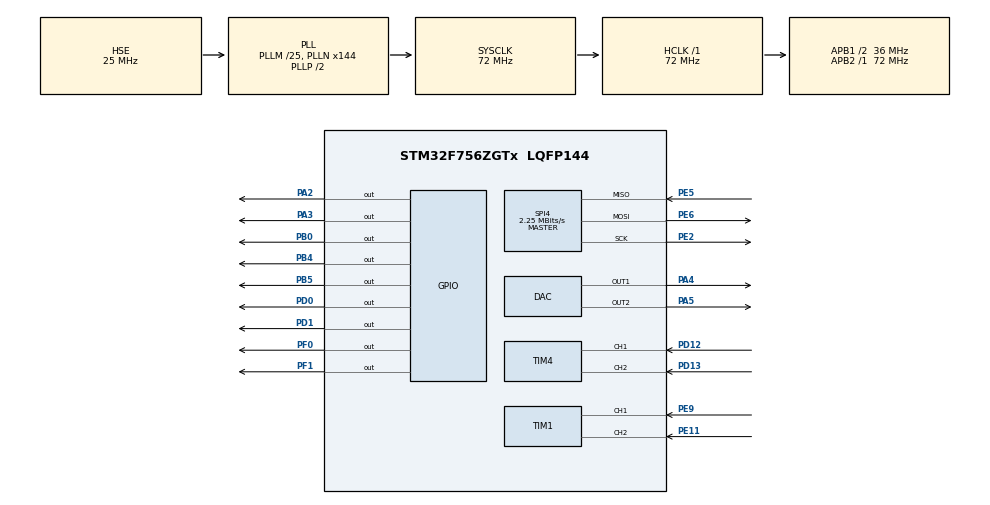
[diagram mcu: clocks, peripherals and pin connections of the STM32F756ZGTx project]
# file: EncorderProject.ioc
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CORTEX_M7.default_mode_Activation=1
FATFS._MAX_SS=4096
Mcu.Family=STM32F7
Mcu.Name=STM32F756ZGTx
Mcu.Package=LQFP144
NVIC.PriorityGroup=NVIC_PRIORITYGROUP_4
NVIC.TIM8_UP_TIM13_IRQn=true\:0\:0\:false\:false\:true\:true\:true\:true
PA13.Mode=Serial_Wire
PA13.Signal=SYS_JTMS-SWDIO
PA14.Mode=Serial_Wire
PA14.Signal=SYS_JTCK-SWCLK
PA2.Signal=GPIO_Output
PA3.Signal=GPIO_Output
PA4.Signal=COMP_DAC1_group
PA5.Signal=COMP_DAC2_group
PB0.Signal=GPIO_Output
PB4.Signal=GPIO_Output
PB5.Signal=GPIO_Output
PD0.Signal=GPIO_Output
PD1.Signal=GPIO_Output
PD12.Signal=S_TIM4_CH1
PD13.Signal=S_TIM4_CH2
PE11.Signal=S_TIM1_CH2
PE2.Mode=Full_Duplex_Master
PE2.Signal=SPI4_SCK
PE5.Mode=Full_Duplex_Master
PE5.Signal=SPI4_MISO
PE6.Mode=Full_Duplex_Master
PE6.Signal=SPI4_MOSI
PE9.Signal=S_TIM1_CH1
PF0.Signal=GPIO_Output
PF1.Signal=GPIO_Output
PH0/OSC_IN.Mode=HSE-External-Oscillator
PH0/OSC_IN.Signal=RCC_OSC_IN
PH1/OSC_OUT.Mode=HSE-External-Oscillator
PH1/OSC_OUT.Signal=RCC_OSC_OUT
ProjectManager.HeapSize=0x200
ProjectManager.StackSize=0x400
ProjectManager.TargetToolchain=STM32CubeIDE
RCC.AHBFreq_Value=72000000
RCC.APB1CLKDivider=RCC_HCLK_DIV2
RCC.APB1Freq_Value=36000000
RCC.APB1TimFreq_Value=72000000
RCC.APB2Freq_Value=72000000
RCC.APB2TimFreq_Value=72000000
RCC.CortexFreq_Value=72000000
RCC.HCLKFreq_Value=72000000
RCC.HSE_VALUE=25000000
RCC.HSI_VALUE=16000000
RCC.LSE_VALUE=32768
RCC.PLLM=25
RCC.PLLN=144
RCC.PLLSourceVirtual=RCC_PLLSOURCE_HSE
RCC.SYSCLKFreq_VALUE=72000000
RCC.SYSCLKSource=RCC_SYSCLKSOURCE_PLLCLK
RCC.USBFreq_Value=72000000
RCC.VCOOutputFreq_Value=144000000
SH.COMP_DAC1_group.0=DAC_OUT1,DAC_OUT1
SH.COMP_DAC2_group.0=DAC_OUT2,DAC_OUT2
SH.S_TIM1_CH1.0=TIM1_CH1,Encoder_Interface
SH.S_TIM1_CH2.0=TIM1_CH2,Encoder_Interface
SH.S_TIM4_CH1.0=TIM4_CH1,Encoder_Interface
SH.S_TIM4_CH2.0=TIM4_CH2,Encoder_Interface
SPI4.BaudRatePrescaler=SPI_BAUDRATEPRESCALER_32
SPI4.CLKPhase=SPI_PHASE_1EDGE
SPI4.CalculateBaudRate=2.25 MBits/s
SPI4.DataSize=SPI_DATASIZE_8BIT
SPI4.Direction=SPI_DIRECTION_2LINES
SPI4.Mode=SPI_MODE_MASTER
SPI4.VirtualType=VM_MASTER
TIM1.EncoderMode=TIM_ENCODERMODE_TI12
TIM1.IC1Filter=4
TIM1.IC1Polarity=TIM_ICPOLARITY_FALLING
TIM1.IC2Filter=4
TIM1.IC2Polarity=TIM_ICPOLARITY_FALLING
TIM13.Period=999
TIM13.Prescaler=14400-1
TIM2.Period=0xFFFFFFFF
TIM2.Prescaler=72*5-1
TIM4.EncoderMode=TIM_ENCODERMODE_TI12
TIM4.IC1Filter=8
TIM4.IC1Polarity=TIM_ICPOLARITY_FALLING
TIM4.IC2Filter=8
TIM4.IC2Polarity=TIM_ICPOLARITY_FALLING
VP_FATFS_VS_Generic.Mode=User_defined
VP_TIM13_VS_ClockSourceINT.Mode=Enable_Timer
VP_TIM2_VS_ClockSourceINT.Mode=Internal
board=custom

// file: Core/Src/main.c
/* USER CODE BEGIN Header */
/**
  ******************************************************************************
  * @file           : main.c
  * @brief          : Main program body
  ******************************************************************************
  * @attention
  *
  * Copyright (c) 2025 STMicroelectronics.
  * All rights reserved.
  *
  * This software is licensed under terms that can be found in the LICENSE file
  * in the root directory of this software component.
  * If no LICENSE file comes with this software, it is provided AS-IS.
  *
  ******************************************************************************
  */
/* USER CODE END Header */
#include "main.h"
#include "fatfs.h"

/* USER CODE BEGIN Includes */
#include "fatfs_sd.h"
#include "string.h"
#include "stdio.h"
#include <math.h>
#include <stdint.h>
uint16_t dac_value=500;
/* USER CODE END Includes */

DAC_HandleTypeDef hdac;

SPI_HandleTypeDef hspi4;

TIM_HandleTypeDef htim1;
TIM_HandleTypeDef htim2;
TIM_HandleTypeDef htim4;
TIM_HandleTypeDef htim13;

void SystemClock_Config(void);
static void MPU_Config(void);
static void MX_GPIO_Init(void);
static void MX_TIM1_Init(void);
static void MX_TIM4_Init(void);
static void MX_TIM13_Init(void);
static void MX_SPI4_Init(void);
static void MX_TIM2_Init(void);
static void MX_DAC_Init(void);

/* USER CODE BEGIN 0 */
// Variables to store encoder ticks for Encoder 1 and Encoder 2
uint32_t encoder_ticks = 0;        // Current tick count from Encoder 1
uint32_t encoder_ticks_prev = 0;   // Previous tick count from Encoder 1
uint32_t encoder_ticks2 = 0;       // Current tick count from Encoder 2
uint32_t encoder_ticks2_prev = 0;  // Previous tick count from Encoder 2

// Counters to track the number of timer interrupts or events
uint32_t MainloopCount = 0;            // Main counter to keep track of loop or events
uint32_t SDCardCount=0;			   // Counter for SD card
uint32_t record_number = 1;  // Counter for record numbers
uint32_t communicationError=0;
// Velocity and acceleration variables for Encoder 1

// Timing variable to set the interval for calculation
uint32_t time_interval = 5;        // Time interval in milliseconds (equivalent to 0.005 seconds at 20 kHz Timer)

// File system and file handling variables for SD card operations
FATFS fs;                          // FatFs structure to manage the file system
FIL fil;                           // File object structure for handling files
FRESULT fresult;                  // Result variable to capture FatFs API function responses

// General-purpose buffer for storing data to read/write to the SD card
char buffer[2048];                 // Buffer to hold data for file operations

// Variables to track bytes read and written
UINT br;                           // Bytes read from the file
UINT bw;                           // Bytes written to the file

/////////// Test Variables  ////////
FRESULT fresult2;
volatile int EncoderUpdated = 0;
int SDCardRecordMode = 0;
/////////// Algorithm Code Varibles  ////////
#define CPR 28846 //Counter Per Revolution
#define MAX_COUNT 65535
uint32_t time_start=0;
uint32_t time_end=0;
uint32_t secondFromStart;
// Position (angles in rad)
int16_t prev_ticks1 = 0, prev_ticks2 = 0;  // Previous counts for each encoder
float theta1 = 0.0, theta2 = 0.0;
float theta1_prev = 0.0, theta2_prev = 0.0;

// Velocity calculations
float velocity1 = 0.0, velocity2 = 0.0;
float velocity1_prev = 0.0, velocity2_prev = 0.0;

// Acceleration calculations
float acceleration1 = 0.0, acceleration2 = 0.0;
// Parameters
#define G 0.1f  // Smoothing factor (adjust 0 < G < 1)
// Define constants and variables for both motors
// Motor 1 Parameters
float Icmd1 = 1.2;        // Commanded current (A)
float Ktn1 = 0.05;        // Torque constant (Nm/A)
float Jn1 = 0.01;         // Motor inertia (kg·m^2)
float Gdis1 = 100.0;      // Disturbance observer gain
float Kt1 = 0.05;        // Additional torque constant scaling
float Grtob1 = 50.0;      // Reaction torque observer gain
float Fint = 0.1;         // Internal force (Nm)
float Ffric = 0.05;       // Friction force (Nm)

// Motor 2 Parameters
float Icmd2 = 1.1;        // Commanded current (A)
float Ktn2 = 0.048;       // Torque constant (Nm/A)
float Jn2 = 0.012;        // Motor inertia (kg·m^2)
float Gdis2 = 95.0;       // Disturbance observer gain
float Kt2 = 0.048;        // Additional torque constant scaling
float Grtob2 = 45.0;      // Reaction torque observer gain
float Fint2 = 0.08;       // Internal force (Nm)
float Ffric2 = 0.04;      // Friction force (Nm)

// Disturbance Torque Variables
float Tdis1, Tdis2;  // Disturbance torque estimation (Nm)

// Disturbance-Induced Currents
float Idis1, Idis2;  // Disturbance-induced current (A)

// External Torque Estimations
float Text1, Text2;  // External torque estimation (Nm)
// External Torque Estimations
float Text1, Text2;
HAL_StatusTypeDef status;
uint16_t OutputVref=5000;
void HAL_TIM_PeriodElapsedCallback(TIM_HandleTypeDef *htim) {
    if (htim->Instance == TIM13) {
    	if (SDCardRecordMode==1){
/*        SDCardCount++;
        if (EncoderUpdated == 1 && communicationError==0) {
            FRESULT fr;
            UINT bytes_written;

            // Open the file for appending
            fr = f_open(&fil, "Data.txt", FA_OPEN_APPEND | FA_WRITE);
            if (fr != FR_OK) {
                // Optional: Handle error (blink LED, set flag, etc.)
            	communicationError=1;
                return;
            }

            // Format the record number and encoder tick data into a string
            sprintf(buffer, "R%lu: E1: %lu, E2: %lu\n", SDCardCount, encoder_ticks, encoder_ticks2);
            //"R%lu: E1: %lu, E2: %lu\n"
            // Write to the file
            fr = f_write(&fil, buffer, strlen(buffer), &bytes_written);
            if (fr != FR_OK || bytes_written == 0) {
                f_close(&fil);  // Close anyway if open
                communicationError=1;
                return;
            }

            // Close the file
            fr = f_close(&fil);
            if (fr != FR_OK) {
            	communicationError=1;
                return;
            }

            EncoderUpdated = 0;
            record_number++;*/
        }

    		else {
    			   // Send RGB values to ESP32
    				uint8_t txData[3] = {100, 0, 0};
    			    HAL_SPI_Transmit(&hspi4, txData, 3, HAL_MAX_DELAY);
    			    HAL_Delay(500);  // Delay between transmissions for clarity
    		}
    }
}
float applyLowPassFilterVelocity(float X, float Y_old) {
    // Apply the first-order low-pass filter formula
    float Y = Y_old + G * (X - Y_old);

    // Return the filtered output
    return Y;
}
void ConfigureMotor01(int Enable, int Clockwise, uint16_t dac_value) {
	HAL_GPIO_WritePin(GPIOB,GPIO_PIN_4, Clockwise);
	HAL_GPIO_WritePin(GPIOB,GPIO_PIN_5, Enable);
	HAL_DAC_SetValue(&hdac, DAC_CHANNEL_1, DAC_ALIGN_12B_R, dac_value);

}
void ConfigureMotor02(int Enable, int Clockwise, uint16_t dac_value) {
	HAL_GPIO_WritePin(GPIOA,GPIO_PIN_2, Clockwise);
	HAL_GPIO_WritePin(GPIOA,GPIO_PIN_3, Enable);
	HAL_DAC_SetValue(&hdac, DAC_CHANNEL_2, DAC_ALIGN_12B_R, dac_value);
}
int result=0;
/* USER CODE END 0 */

int main(void)
{

  /* MPU Configuration--------------------------------------------------------*/
  MPU_Config();

  /* MCU Configuration--------------------------------------------------------*/

  /* Reset of all peripherals, Initializes the Flash interface and the Systick. */
  HAL_Init();

  /* Configure the system clock */
  SystemClock_Config();

  /* Initialize all configured peripherals */
  MX_GPIO_Init();
  MX_TIM1_Init();
  MX_TIM4_Init();
  MX_TIM13_Init();
  MX_SPI4_Init();
  MX_FATFS_Init();
  MX_TIM2_Init();
  MX_DAC_Init();
  /* USER CODE BEGIN 2 */
  // Start encoder timers
  HAL_TIM_Encoder_Start(&htim4, TIM_CHANNEL_ALL);
  HAL_TIM_Encoder_Start(&htim1, TIM_CHANNEL_ALL);
  HAL_TIM_Base_Start_IT(&htim13);  // Start TIM2 in interrupt mode
  HAL_TIM_Base_Start(&htim2);

  // Mount the filesystem
  fresult = f_mount(&fs, "", 1);
  if (fresult != FR_OK) {
      // Optional: Handle mount failure
      // e.g., flash LED or set flag to disable SD logging
      // while (1);  // You can also skip this if you want MCU to continue
  } else {
      // Create a new file if mount was successful
      fresult = f_open(&fil, "Data.txt", FA_CREATE_ALWAYS | FA_WRITE);
      if (fresult == FR_OK) {
          fresult = f_close(&fil);
      }
  }
  HAL_DAC_Start(&hdac, DAC_CHANNEL_1);
  HAL_DAC_Start(&hdac, DAC_CHANNEL_2);

  /* USER CODE END 2 */

  /* Infinite loop */
  while (1)
  {

    /* USER CODE BEGIN 3 */
	  uint32_t time_start = __HAL_TIM_GET_COUNTER(&htim2);
	  MainloopCount++;
	  OutputVref++;
	  if(OutputVref>4000){
		  OutputVref=0;
	  }
	  EncoderUpdated = 0;
	  encoder_ticks = __HAL_TIM_GET_COUNTER(&htim1);
	  encoder_ticks2 = __HAL_TIM_GET_COUNTER(&htim4);
	  EncoderUpdated = 1;
	  secondFromStart=__HAL_TIM_GET_COUNTER(&htim2)/100000;
	  // Compute **Encoder 1** Position, Velocity, & Acceleration
	  theta1 = (float)(encoder_ticks) * 2.0f * M_PI / (float)CPR;
	  velocity1 = (theta1 - theta1_prev) * 1000000  / time_interval;
	  acceleration1 = (velocity1 - velocity1_prev) * 1000000  / time_interval;

	  // Apply low-pass filter on the velocity of Encoder 1
	  velocity1 = applyLowPassFilterVelocity(velocity1, velocity1_prev);  // Filtered velocity

	  theta1_prev = theta1;
	  velocity1_prev = velocity1;

	  // Compute **Encoder 2** Position, Velocity, & Acceleration
	  theta2 = (float)(encoder_ticks2) * 2.0f * M_PI / (float)CPR;
	  velocity2 = (theta2 - theta2_prev) * 1000000  / time_interval;
	  acceleration2 = (velocity2 - velocity2_prev) * 1000000  / time_interval;

	  // Apply low-pass filter on the velocity of Encoder 2
	  velocity2 = applyLowPassFilterVelocity(velocity2, velocity2_prev);  // Filtered velocity
	  theta2_prev = theta2;
	  velocity2_prev = velocity2;
	  // Disturbance Observers //
	  Tdis1 = (Icmd1 * Ktn1 + velocity1 * Jn1 * Gdis1) * Gdis1 / (time_interval + Gdis1) - velocity1 * Jn1 * Gdis1;
	  Tdis2 = (Icmd2 * Ktn2 + velocity2 * Jn2 * Gdis2) * Gdis2 / (time_interval + Gdis2) - velocity2 * Jn2 * Gdis2;
	  Idis1=Tdis1*Kt1;
	  Idis2=Tdis2*Kt2;
	  Text1=(Icmd1*(1/Kt1)+velocity1 * Jn1 * Grtob1-(Fint+Ffric))*Grtob1/(time_interval + Grtob1)-velocity1 * Jn1 * Grtob1;
	  Text2 = (Icmd2 * (1 / Kt2) + velocity2 * Jn2 * Grtob2 - (Fint2 + Ffric2)) * Grtob2 / (time_interval + Grtob2) - velocity2 * Jn2 * Grtob2;
	  // Set the DAC output voltage
	  ConfigureMotor01(1, 1, 2000);
	  ConfigureMotor02(1, 0, 2000);
	  uint32_t time_end = __HAL_TIM_GET_COUNTER(&htim2);
	  time_interval = time_end - time_start;
  }
  /* USER CODE END 3 */
}

void SystemClock_Config(void)
{
  RCC_OscInitTypeDef RCC_OscInitStruct = {0};
  RCC_ClkInitTypeDef RCC_ClkInitStruct = {0};

  /** Configure the main internal regulator output voltage
  */
  __HAL_RCC_PWR_CLK_ENABLE();
  __HAL_PWR_VOLTAGESCALING_CONFIG(PWR_REGULATOR_VOLTAGE_SCALE3);

  /** Initializes the RCC Oscillators according to the specified parameters
  * in the RCC_OscInitTypeDef structure.
  */
  RCC_OscInitStruct.OscillatorType = RCC_OSCILLATORTYPE_HSE;
  RCC_OscInitStruct.HSEState = RCC_HSE_ON;
  RCC_OscInitStruct.PLL.PLLState = RCC_PLL_ON;
  RCC_OscInitStruct.PLL.PLLSource = RCC_PLLSOURCE_HSE;
  RCC_OscInitStruct.PLL.PLLM = 25;
  RCC_OscInitStruct.PLL.PLLN = 144;
  RCC_OscInitStruct.PLL.PLLP = RCC_PLLP_DIV2;
  RCC_OscInitStruct.PLL.PLLQ = 2;
  if (HAL_RCC_OscConfig(&RCC_OscInitStruct) != HAL_OK)
  {
    Error_Handler();
  }

  /** Initializes the CPU, AHB and APB buses clocks
  */
  RCC_ClkInitStruct.ClockType = RCC_CLOCKTYPE_HCLK|RCC_CLOCKTYPE_SYSCLK
                              |RCC_CLOCKTYPE_PCLK1|RCC_CLOCKTYPE_PCLK2;
  RCC_ClkInitStruct.SYSCLKSource = RCC_SYSCLKSOURCE_PLLCLK;
  RCC_ClkInitStruct.AHBCLKDivider = RCC_SYSCLK_DIV1;
  RCC_ClkInitStruct.APB1CLKDivider = RCC_HCLK_DIV2;
  RCC_ClkInitStruct.APB2CLKDivider = RCC_HCLK_DIV1;

  if (HAL_RCC_ClockConfig(&RCC_ClkInitStruct, FLASH_LATENCY_2) != HAL_OK)
  {
    Error_Handler();
  }
}

static void MX_DAC_Init(void)
{

  DAC_ChannelConfTypeDef sConfig = {0};

  /** DAC Initialization
  */
  hdac.Instance = DAC;
  if (HAL_DAC_Init(&hdac) != HAL_OK)
  {
    Error_Handler();
  }

  /** DAC channel OUT1 config
  */
  sConfig.DAC_Trigger = DAC_TRIGGER_NONE;
  sConfig.DAC_OutputBuffer = DAC_OUTPUTBUFFER_ENABLE;
  if (HAL_DAC_ConfigChannel(&hdac, &sConfig, DAC_CHANNEL_1) != HAL_OK)
  {
    Error_Handler();
  }

  /** DAC channel OUT2 config
  */
  if (HAL_DAC_ConfigChannel(&hdac, &sConfig, DAC_CHANNEL_2) != HAL_OK)
  {
    Error_Handler();
  }

}

static void MX_SPI4_Init(void)
{

  /* SPI4 parameter configuration*/
  hspi4.Instance = SPI4;
  hspi4.Init.Mode = SPI_MODE_MASTER;
  hspi4.Init.Direction = SPI_DIRECTION_2LINES;
  hspi4.Init.DataSize = SPI_DATASIZE_8BIT;
  hspi4.Init.CLKPolarity = SPI_POLARITY_LOW;
  hspi4.Init.CLKPhase = SPI_PHASE_1EDGE;
  hspi4.Init.NSS = SPI_NSS_SOFT;
  hspi4.Init.BaudRatePrescaler = SPI_BAUDRATEPRESCALER_32;
  hspi4.Init.FirstBit = SPI_FIRSTBIT_MSB;
  hspi4.Init.TIMode = SPI_TIMODE_DISABLE;
  hspi4.Init.CRCCalculation = SPI_CRCCALCULATION_DISABLE;
  hspi4.Init.CRCPolynomial = 7;
  hspi4.Init.CRCLength = SPI_CRC_LENGTH_DATASIZE;
  hspi4.Init.NSSPMode = SPI_NSS_PULSE_ENABLE;
  if (HAL_SPI_Init(&hspi4) != HAL_OK)
  {
    Error_Handler();
  }

}

static void MX_TIM1_Init(void)
{

  TIM_Encoder_InitTypeDef sConfig = {0};
  TIM_MasterConfigTypeDef sMasterConfig = {0};

  htim1.Instance = TIM1;
  htim1.Init.Prescaler = 0;
  htim1.Init.CounterMode = TIM_COUNTERMODE_UP;
  htim1.Init.Period = 65535;
  htim1.Init.ClockDivision = TIM_CLOCKDIVISION_DIV1;
  htim1.Init.RepetitionCounter = 0;
  htim1.Init.AutoReloadPreload = TIM_AUTORELOAD_PRELOAD_DISABLE;
  sConfig.EncoderMode = TIM_ENCODERMODE_TI12;
  sConfig.IC1Polarity = TIM_ICPOLARITY_FALLING;
  sConfig.IC1Selection = TIM_ICSELECTION_DIRECTTI;
  sConfig.IC1Prescaler = TIM_ICPSC_DIV1;
  sConfig.IC1Filter = 4;
  sConfig.IC2Polarity = TIM_ICPOLARITY_FALLING;
  sConfig.IC2Selection = TIM_ICSELECTION_DIRECTTI;
  sConfig.IC2Prescaler = TIM_ICPSC_DIV1;
  sConfig.IC2Filter = 4;
  if (HAL_TIM_Encoder_Init(&htim1, &sConfig) != HAL_OK)
  {
    Error_Handler();
  }
  sMasterConfig.MasterOutputTrigger = TIM_TRGO_RESET;
  sMasterConfig.MasterOutputTrigger2 = TIM_TRGO2_RESET;
  sMasterConfig.MasterSlaveMode = TIM_MASTERSLAVEMODE_DISABLE;
  if (HAL_TIMEx_MasterConfigSynchronization(&htim1, &sMasterConfig) != HAL_OK)
  {
    Error_Handler();
  }

}

static void MX_TIM2_Init(void)
{

  TIM_ClockConfigTypeDef sClockSourceConfig = {0};
  TIM_MasterConfigTypeDef sMasterConfig = {0};

  htim2.Instance = TIM2;
  htim2.Init.Prescaler = 72*5-1;
  htim2.Init.CounterMode = TIM_COUNTERMODE_UP;
  htim2.Init.Period = 0xFFFFFFFF;
  htim2.Init.ClockDivision = TIM_CLOCKDIVISION_DIV1;
  htim2.Init.AutoReloadPreload = TIM_AUTORELOAD_PRELOAD_DISABLE;
  if (HAL_TIM_Base_Init(&htim2) != HAL_OK)
  {
    Error_Handler();
  }
  sClockSourceConfig.ClockSource = TIM_CLOCKSOURCE_INTERNAL;
  if (HAL_TIM_ConfigClockSource(&htim2, &sClockSourceConfig) != HAL_OK)
  {
    Error_Handler();
  }
  sMasterConfig.MasterOutputTrigger = TIM_TRGO_RESET;
  sMasterConfig.MasterSlaveMode = TIM_MASTERSLAVEMODE_DISABLE;
  if (HAL_TIMEx_MasterConfigSynchronization(&htim2, &sMasterConfig) != HAL_OK)
  {
    Error_Handler();
  }

}

static void MX_TIM4_Init(void)
{

  TIM_Encoder_InitTypeDef sConfig = {0};
  TIM_MasterConfigTypeDef sMasterConfig = {0};

  htim4.Instance = TIM4;
  htim4.Init.Prescaler = 0;
  htim4.Init.CounterMode = TIM_COUNTERMODE_UP;
  htim4.Init.Period = 65535;
  htim4.Init.ClockDivision = TIM_CLOCKDIVISION_DIV1;
  htim4.Init.AutoReloadPreload = TIM_AUTORELOAD_PRELOAD_DISABLE;
  sConfig.EncoderMode = TIM_ENCODERMODE_TI12;
  sConfig.IC1Polarity = TIM_ICPOLARITY_FALLING;
  sConfig.IC1Selection = TIM_ICSELECTION_DIRECTTI;
  sConfig.IC1Prescaler = TIM_ICPSC_DIV1;
  sConfig.IC1Filter = 8;
  sConfig.IC2Polarity = TIM_ICPOLARITY_FALLING;
  sConfig.IC2Selection = TIM_ICSELECTION_DIRECTTI;
  sConfig.IC2Prescaler = TIM_ICPSC_DIV1;
  sConfig.IC2Filter = 8;
  if (HAL_TIM_Encoder_Init(&htim4, &sConfig) != HAL_OK)
  {
    Error_Handler();
  }
  sMasterConfig.MasterOutputTrigger = TIM_TRGO_RESET;
  sMasterConfig.MasterSlaveMode = TIM_MASTERSLAVEMODE_DISABLE;
  if (HAL_TIMEx_MasterConfigSynchronization(&htim4, &sMasterConfig) != HAL_OK)
  {
    Error_Handler();
  }

}

static void MX_TIM13_Init(void)
{

  htim13.Instance = TIM13;
  htim13.Init.Prescaler = 14400-1;
  htim13.Init.CounterMode = TIM_COUNTERMODE_UP;
  htim13.Init.Period = 999;
  htim13.Init.ClockDivision = TIM_CLOCKDIVISION_DIV1;
  htim13.Init.AutoReloadPreload = TIM_AUTORELOAD_PRELOAD_DISABLE;
  if (HAL_TIM_Base_Init(&htim13) != HAL_OK)
  {
    Error_Handler();
  }

}

static void MX_GPIO_Init(void)
{
  GPIO_InitTypeDef GPIO_InitStruct = {0};

  /* GPIO Ports Clock Enable */
  __HAL_RCC_GPIOE_CLK_ENABLE();
  __HAL_RCC_GPIOF_CLK_ENABLE();
  __HAL_RCC_GPIOH_CLK_ENABLE();
  __HAL_RCC_GPIOA_CLK_ENABLE();
  __HAL_RCC_GPIOB_CLK_ENABLE();
  __HAL_RCC_GPIOD_CLK_ENABLE();

  /*Configure GPIO pin Output Level */
  HAL_GPIO_WritePin(GPIOF, GPIO_PIN_0|GPIO_PIN_1, GPIO_PIN_RESET);

  /*Configure GPIO pin Output Level */
  HAL_GPIO_WritePin(GPIOA, GPIO_PIN_2|GPIO_PIN_3, GPIO_PIN_RESET);

  /*Configure GPIO pin Output Level */
  HAL_GPIO_WritePin(GPIOB, GPIO_PIN_0|GPIO_PIN_4|GPIO_PIN_5, GPIO_PIN_RESET);

  /*Configure GPIO pin Output Level */
  HAL_GPIO_WritePin(GPIOD, GPIO_PIN_0|GPIO_PIN_1, GPIO_PIN_RESET);

  /*Configure GPIO pins : PF0 PF1 */
  GPIO_InitStruct.Pin = GPIO_PIN_0|GPIO_PIN_1;
  GPIO_InitStruct.Mode = GPIO_MODE_OUTPUT_PP;
  GPIO_InitStruct.Pull = GPIO_NOPULL;
  GPIO_InitStruct.Speed = GPIO_SPEED_FREQ_LOW;
  HAL_GPIO_Init(GPIOF, &GPIO_InitStruct);

  /*Configure GPIO pins : PA2 PA3 */
  GPIO_InitStruct.Pin = GPIO_PIN_2|GPIO_PIN_3;
  GPIO_InitStruct.Mode = GPIO_MODE_OUTPUT_PP;
  GPIO_InitStruct.Pull = GPIO_NOPULL;
  GPIO_InitStruct.Speed = GPIO_SPEED_FREQ_LOW;
  HAL_GPIO_Init(GPIOA, &GPIO_InitStruct);

  /*Configure GPIO pins : PB0 PB4 PB5 */
  GPIO_InitStruct.Pin = GPIO_PIN_0|GPIO_PIN_4|GPIO_PIN_5;
  GPIO_InitStruct.Mode = GPIO_MODE_OUTPUT_PP;
  GPIO_InitStruct.Pull = GPIO_NOPULL;
  GPIO_InitStruct.Speed = GPIO_SPEED_FREQ_LOW;
  HAL_GPIO_Init(GPIOB, &GPIO_InitStruct);

  /*Configure GPIO pins : PD0 PD1 */
  GPIO_InitStruct.Pin = GPIO_PIN_0|GPIO_PIN_1;
  GPIO_InitStruct.Mode = GPIO_MODE_OUTPUT_PP;
  GPIO_InitStruct.Pull = GPIO_NOPULL;
  GPIO_InitStruct.Speed = GPIO_SPEED_FREQ_LOW;
  HAL_GPIO_Init(GPIOD, &GPIO_InitStruct);

}

 /* MPU Configuration */

void MPU_Config(void)
{
  MPU_Region_InitTypeDef MPU_InitStruct = {0};

  /* Disables the MPU */
  HAL_MPU_Disable();

  /** Initializes and configures the Region and the memory to be protected
  */
  MPU_InitStruct.Enable = MPU_REGION_ENABLE;
  MPU_InitStruct.Number = MPU_REGION_NUMBER0;
  MPU_InitStruct.BaseAddress = 0x0;
  MPU_InitStruct.Size = MPU_REGION_SIZE_4GB;
  MPU_InitStruct.SubRegionDisable = 0x87;
  MPU_InitStruct.TypeExtField = MPU_TEX_LEVEL0;
  MPU_InitStruct.AccessPermission = MPU_REGION_NO_ACCESS;
  MPU_InitStruct.DisableExec = MPU_INSTRUCTION_ACCESS_DISABLE;
  MPU_InitStruct.IsShareable = MPU_ACCESS_SHAREABLE;
  MPU_InitStruct.IsCacheable = MPU_ACCESS_NOT_CACHEABLE;
  MPU_InitStruct.IsBufferable = MPU_ACCESS_NOT_BUFFERABLE;

  HAL_MPU_ConfigRegion(&MPU_InitStruct);
  /* Enables the MPU */
  HAL_MPU_Enable(MPU_PRIVILEGED_DEFAULT);

}

void Error_Handler(void)
{
  __disable_irq();
  while (1)
  {
  }
}
